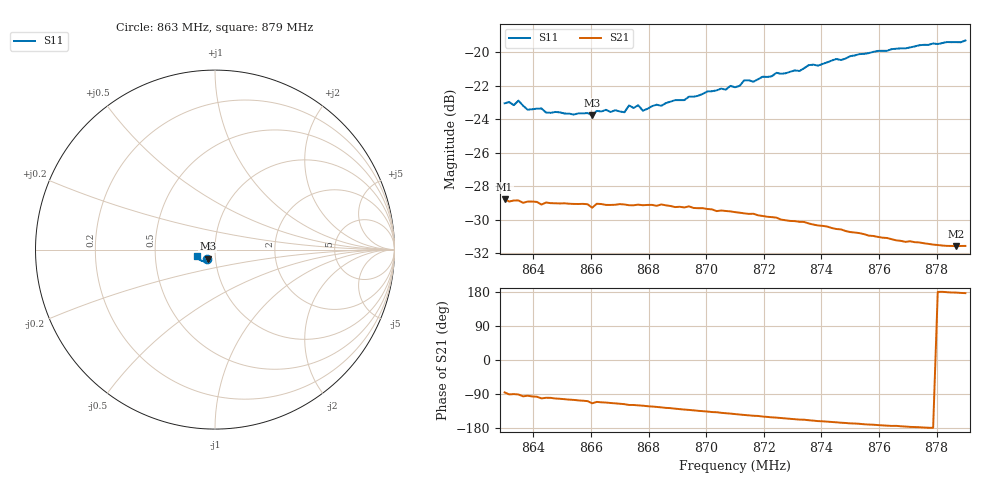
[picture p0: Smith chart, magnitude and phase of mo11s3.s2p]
# HZ S RI R 50
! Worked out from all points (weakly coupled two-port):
!   101 points, 863 MHz to 879 MHz, reference 50 ohm
!   highest |S21| = -28.77 dB at 863 MHz (marker M1); lowest = -31.6 dB at 878.68 MHz (marker M2)
!   lowest |S11| = -23.8 dB at 866.04 MHz (marker M3), VSWR 1.14, Z = 45.9 - j4.72 ohm
!   |S11| at or under -10 dB: start of sweep to end of sweep
!   S12 and S22 are empty: the file has one direction only
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8.63e8  -0.0472 -0.0523  0.00284 -0.0363  0 0  0 0
8.6332e8  -0.0473 -0.051  6.3e-05 -0.0361  0 0  0 0
8.6348e8  -0.0503 -0.0512  -0.000603 -0.0361  0 0  0 0
8.638e8  -0.0438 -0.0512  -0.00265 -0.0358  0 0  0 0
8.6572e8  -0.0412 -0.0512  -0.0106 -0.0337  0 0  0 0
8.6604e8  -0.0398 -0.0511  -0.0141 -0.0314  0 0  0 0
8.662e8  -0.0421 -0.0519  -0.0124 -0.0331  0 0  0 0
8.6652e8  -0.0407 -0.0537  -0.0133 -0.0324  0 0  0 0
8.6716e8  -0.0393 -0.0534  -0.0157 -0.0314  0 0  0 0
8.6732e8  -0.0426 -0.0547  -0.0168 -0.0307  0 0  0 0
8.6748e8  -0.0398 -0.0554  -0.0168 -0.0307  0 0  0 0
8.6764e8  -0.0414 -0.0558  -0.0174 -0.0305  0 0  0 0
8.678e8  -0.0397 -0.0539  -0.0178 -0.0301  0 0  0 0
8.6844e8  -0.0406 -0.0561  -0.0202 -0.0288  0 0  0 0
8.7004e8  -0.0447 -0.062  -0.0245 -0.0237  0 0  0 0
8.71e8  -0.0475 -0.0627  -0.0265 -0.0202  0 0  0 0
8.7132e8  -0.0503 -0.0654  -0.0271 -0.019  0 0  0 0
8.7164e8  -0.0501 -0.0645  -0.0277 -0.0179  0 0  0 0
8.7372e8  -0.0638 -0.0661  -0.0288 -0.0105  0 0  0 0
8.7644e8  -0.0861 -0.0551  -0.0275 -0.00292  0 0  0 0
8.7868e8  -0.1004 -0.0377  -0.0264 0.000964  0 0  0 0
8.79e8  -0.1027 -0.0351  -0.0264 0.00164  0 0  0 0
